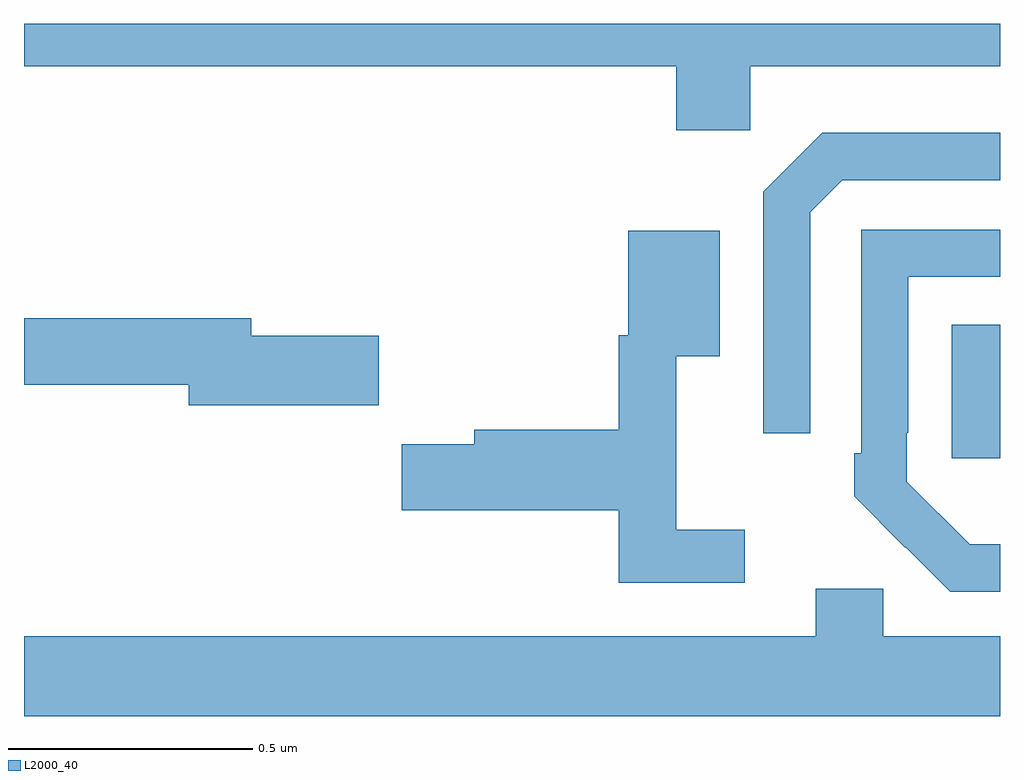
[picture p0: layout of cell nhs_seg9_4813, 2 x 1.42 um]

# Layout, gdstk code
import gdstk
lib = gdstk.Library(unit=1e-6, precision=1e-09)
def R(c, l, rs):  # rectangles x0, y0, x1, y1
    for r in rs: c.add(gdstk.rectangle(r[:2], r[2:], *l))
def P(c, l, *ps):  # polygons
    for p in ps: c.add(gdstk.Polygon(p, *l))
L2000_40 = (2000, 40)

nhs_seg9_4813 = lib.new_cell('nhs_seg9_4813')
R(nhs_seg9_4813, L2000_40, [(172.901,1203.609,173,1203.883)])
P(nhs_seg9_4813, L2000_40, [(172.488,1204.412),(173,1204.412),(173,1204.5),(171,1204.5),(171,1204.412),(172.337,1204.412),(172.337,1204.281),(172.488,1204.281)],
  [(172.611,1204.113),(172.677,1204.179),(173,1204.179),(173,1204.276),(172.636,1204.276),(172.515,1204.155),(172.515,1203.66),(172.611,1203.66)],
  [(173,1203.433),(172.938,1203.433),(172.809,1203.561),(172.809,1203.661),(172.812,1203.661),(172.812,1203.981),(173,1203.981),(173,1204.077),(172.716,1204.077),(172.716,1203.619),(172.701,1203.619),(172.701,1203.531),(172.806,1203.426),(172.807,1203.427),(172.898,1203.336),(173,1203.336)],
  [(172.477,1203.463),(172.337,1203.463),(172.337,1203.818),(172.426,1203.818),(172.426,1204.075),(172.238,1204.075),(172.238,1203.861),(172.219,1203.861),(172.219,1203.668),(171.923,1203.668),(171.923,1203.638),(171.774,1203.638),(171.774,1203.503),(172.219,1203.503),(172.219,1203.354),(172.477,1203.354)],
  [(171.727,1203.86),(171.466,1203.86),(171.466,1203.896),(171,1203.896),(171,1203.76),(171.338,1203.76),(171.338,1203.718),(171.727,1203.718)],
  [(173,1203.244),(172.761,1203.244),(172.761,1203.342),(172.622,1203.342),(172.622,1203.244),(171,1203.244),(171,1203.08),(173,1203.08)])

lib.write_gds('nhs_seg9_4813.gds')
